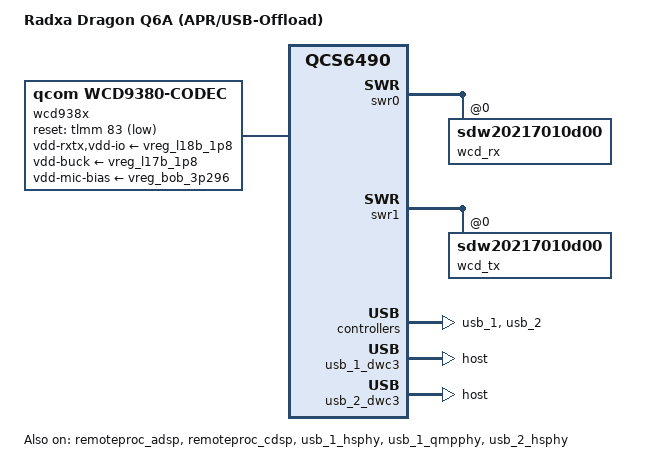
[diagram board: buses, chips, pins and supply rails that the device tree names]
// SPDX-License-Identifier: BSD-3-Clause
/*
 * Copyright (c) 2025 - USB Audio Offload Research Project
 *
 * Radxa Q6A (QCS6490) - APR Audio Stack with USB Offload
 *
 * This is a VERIFICATION DTS overlay that switches the Radxa Q6A from
 * AudioReach (GPR/q6apm) to APR (q6afe/q6asm/q6adm) audio stack,
 * enabling USB audio offload via ADSP.
 *
 * Key difference from upstream qcs6490-radxa-dragon-q6a.dts:
 *   - Does NOT include qcs6490-audioreach.dtsi
 *   - Uses kodiak.dtsi's native APR stack (q6afe, q6asm, q6adm, q6usb)
 *   - LPASS macros use q6afecc clocks instead of q6prmcc
 *   - LPASS macros retain power-domains from kodiak.dtsi
 *   - Sound card uses q6afedai/q6routing instead of q6apmbedai/q6apm
 *   - Adds USB DAI link for offload playback
 *
 * Reference: qcm6490-fairphone-fp5.dts (same SoC, USB offload working)
 *
 * IMPORTANT: This requires ADSP firmware that supports APR protocol.
 *            Run scripts/verify-apr-firmware.sh on device first.
 */

/dts-v1/;

/*
 * Include the base SoC dtsi (kodiak.dtsi) which contains the APR stack:
 *   apr { q6afe, q6asm, q6adm, q6usbdai }
 *
 * We intentionally do NOT include qcs6490-audioreach.dtsi which would
 * delete the APR node and replace it with GPR.
 */
#include <dt-bindings/iio/qcom,spmi-adc7-pmk8350.h>
#include <dt-bindings/iio/qcom,spmi-adc7-pm7325.h>
#include <dt-bindings/leds/common.h>
#include <dt-bindings/pinctrl/qcom,pmic-gpio.h>
#include <dt-bindings/regulator/qcom,rpmh-regulator.h>
#include <dt-bindings/sound/qcom,q6asm.h>
#include <dt-bindings/sound/qcom,q6dsp-lpass-ports.h>
#include "kodiak.dtsi"
#include "pm7250b.dtsi"
#include "pm7325.dtsi"
#include "pm8350c.dtsi"
#include "pmk8350.dtsi"

/* NOTE: qcs6490-audioreach.dtsi is NOT included - this is intentional */

/ {
	model = "Radxa Dragon Q6A (APR/USB-Offload)";
	compatible = "radxa,dragon-q6a", "qcom,qcs6490";

	/*
	 * WCD938x audio codec - identical to upstream Radxa Q6A config.
	 * Connected via SoundWire (SWR0 for RX, SWR1 for TX).
	 */
	wcd938x: audio-codec {
		compatible = "qcom,wcd9380-codec";

		pinctrl-0 = <&wcd_default>;
		pinctrl-names = "default";

		reset-gpios = <&tlmm 83 GPIO_ACTIVE_LOW>;

		vdd-rxtx-supply = <&vreg_l18b_1p8>;
		vdd-io-supply = <&vreg_l18b_1p8>;
		vdd-buck-supply = <&vreg_l17b_1p8>;
		vdd-mic-bias-supply = <&vreg_bob_3p296>;

		qcom,micbias1-microvolt = <1800000>;
		qcom,micbias2-microvolt = <1800000>;
		qcom,micbias3-microvolt = <1800000>;
		qcom,micbias4-microvolt = <1800000>;
		qcom,mbhc-buttons-vthreshold-microvolt =
			<75000 150000 237000 500000 500000 500000 500000 500000>;
		qcom,mbhc-headset-vthreshold-microvolt = <1700000>;
		qcom,mbhc-headphone-vthreshold-microvolt = <50000>;
		qcom,rx-device = <&wcd_rx>;
		qcom,tx-device = <&wcd_tx>;

		qcom,hphl-jack-type-normally-closed;

		#sound-dai-cells = <1>;
	};

	chosen {
		stdout-path = "serial0:115200n8";
	};
};

/*
 * ============================================================
 * Sound Card Definition - APR Stack with USB Offload
 * ============================================================
 *
 * Key changes from upstream (AudioReach) Radxa Q6A:
 *   - compatible: same sc8280xp machine driver (needs USB patch)
 *   - cpu DAIs: q6afedai instead of q6apmbedai
 *   - platform: q6routing instead of q6apm
 *   - Added: MultiMedia1 frontend (q6asmdai)
 *   - Added: USB Playback DAI link (q6usbdai + q6afedai)
 */
&sound {
	compatible = "qcom,qcs6490-rb3gen2-sndcard";
	model = "QCS6490-Radxa-Dragon-Q6A-APR";

	audio-routing = "IN1_HPHL", "HPHL_OUT",
			"IN2_HPHR", "HPHR_OUT",
			"AMIC2", "MIC BIAS2",
			"TX SWR_ADC1", "ADC2_OUTPUT";

	/* Frontend: MultiMedia1 (required for APR audio path) */
	mm1-dai-link {
		link-name = "MultiMedia1";

		cpu {
			sound-dai = <&q6asmdai MSM_FRONTEND_DAI_MULTIMEDIA1>;
		};
	};

	/* Backend: WCD938x Playback via CODEC DMA */
	wcd-playback-dai-link {
		link-name = "WCD Playback";

		codec {
			sound-dai = <&wcd938x 0>, <&swr0 0>, <&lpass_rx_macro 0>;
		};

		cpu {
			sound-dai = <&q6afedai RX_CODEC_DMA_RX_0>;
		};

		platform {
			sound-dai = <&q6routing>;
		};
	};

	/* Backend: WCD938x Capture via CODEC DMA */
	wcd-capture-dai-link {
		link-name = "WCD Capture";

		codec {
			sound-dai = <&wcd938x 1>, <&swr1 0>, <&lpass_tx_macro 0>;
		};

		cpu {
			sound-dai = <&q6afedai TX_CODEC_DMA_TX_3>;
		};

		platform {
			sound-dai = <&q6routing>;
		};
	};

	/* Backend: USB Audio Offload Playback */
	usb-dai-link {
		link-name = "USB Playback";

		codec {
			sound-dai = <&q6usbdai USB_RX>;
		};

		cpu {
			sound-dai = <&q6afedai USB_RX>;
		};

		platform {
			sound-dai = <&q6routing>;
		};
	};
};

/*
 * ============================================================
 * Hardware Nodes
 * ============================================================
 *
 * The following sections are identical to the upstream Radxa Q6A DTS.
 * Only the sound card and audio stack differ (APR vs AudioReach).
 *
 * NOTE: LPASS macros are NOT overridden here. They use kodiak.dtsi
 * defaults which reference q6afecc clocks and have power-domains.
 * The qcs6490-audioreach.dtsi overlay would have changed these to
 * q6prmcc and removed power-domains, but we skip that overlay.
 */

&remoteproc_adsp {
	/*
	 * CRITICAL: This firmware must support APR protocol.
	 * If it only supports GPR, USB offload will not work.
	 * Run scripts/verify-apr-firmware.sh to check.
	 */
	firmware-name = "qcom/qcs6490/radxa/dragon-q6a/adsp.mbn";
	status = "okay";
};

&remoteproc_cdsp {
	firmware-name = "qcom/qcs6490/cdsp.mbn";
	status = "okay";
};

/* SoundWire RX (playback path to WCD938x) */
&swr0 {
	status = "okay";

	wcd_rx: codec@0,4 {
		compatible = "sdw20217010d00";
		reg = <0 4>;
		qcom,rx-port-mapping = <1 2 3 4 5>;
	};
};

/* SoundWire TX (capture path from WCD938x) */
&swr1 {
	status = "okay";

	wcd_tx: codec@0,3 {
		compatible = "sdw20217010d00";
		reg = <0 3>;
		qcom,tx-port-mapping = <1 1 2 3>;
	};
};

/*
 * USB controllers - required for USB audio offload.
 * The XHCI sideband interface allows ADSP to directly
 * operate USB transfer rings for isochronous audio.
 */
&usb_1 {
	status = "okay";
};

&usb_1_dwc3 {
	dr_mode = "host";
};

&usb_1_hsphy {
	vdda-pll-supply = <&vreg_l10c_0p88>;
	vdda33-supply = <&vreg_l2b_3p072>;
	vdda18-supply = <&vreg_l1c_1p8>;
	status = "okay";
};

&usb_1_qmpphy {
	vdda-phy-supply = <&vreg_l6b_1p2>;
	vdda-pll-supply = <&vreg_l1b_0p912>;
	status = "okay";
};

&usb_2 {
	status = "okay";
};

&usb_2_dwc3 {
	dr_mode = "host";
};

&usb_2_hsphy {
	vdda-pll-supply = <&vreg_l10c_0p88>;
	vdda33-supply = <&vreg_l2b_3p072>;
	vdda18-supply = <&vreg_l1c_1p8>;
	status = "okay";
};

/*
 * NOTE: The rest of the hardware configuration (regulators, GPIO,
 * display, PCIe, I2C, SPI, etc.) is identical to the upstream
 * qcs6490-radxa-dragon-q6a.dts and should be copied from there.
 *
 * This file focuses on the audio stack changes for USB offload
 * verification. For a complete bootable DTS, merge the remaining
 * nodes from the upstream file.
 *
 * Key sections to copy from upstream:
 *   - &apps_rsc { regulators }
 *   - &gpi_dma0, &gpi_dma1
 *   - &gpu, &mdss, &mdss_dp, &mdss_dsi0
 *   - &i2c0..&i2c14
 *   - &pcie1, &pcie1_phy
 *   - &pm7250b_*, &pm7325_*, &pmk8350_*
 *   - &qupv3_id_0, &qupv3_id_1
 *   - &sdhc_1, &sdhc_2
 *   - &tlmm, &uart5
 *   - &wifi
 */
